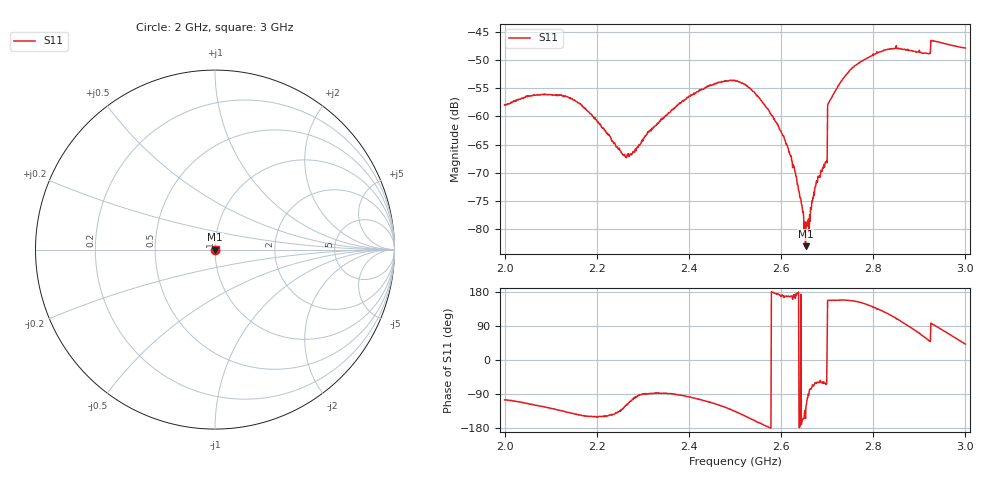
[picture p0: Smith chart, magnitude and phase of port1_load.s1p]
!Created with skrf (http://scikit-rf.org).
# GHz S RI R 50.0
!freq ReS11 ImS11
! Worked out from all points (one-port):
!   1001 points, 2 GHz to 3 GHz, reference 50 ohm
!   lowest |S11| = -83.0 dB at 2.653 GHz (marker M1), VSWR 1.00, Z = 50 - j0.00306 ohm
!   |S11| at or under -10 dB: start of sweep to end of sweep
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2  -0.000335 -0.00123
2.051  -0.000643 -0.00137
2.125  -0.00106 -0.00109
2.179  -0.000961 -0.000592
2.25  -0.00036 -0.000348
2.26  -0.000259 -0.00038
2.277  -0.000116 -0.000453
2.315  2.24e-05 -0.000737
2.375  -3.62e-05 -0.00125
2.441  -0.00063 -0.00173
2.5  -0.00148 -0.00147
2.531  -0.0016 -0.000822
2.569  -0.00119 -0.000108
2.604  -0.000661 0.000126
2.625  -0.000331 0.000119
2.633  -0.00029 5e-05
2.653  -6.38e-05 -3.07e-05
2.658  -1.88e-05 -0.000116
2.676  0.000121 -0.000227
2.695  0.000183 -0.000329
2.706  -0.00128 0.000522
2.75  -0.00237 0.00103
2.813  -0.00254 0.00271
2.845  -0.00158 0.00368
2.875  -6.37e-05 0.00394
2.919  0.00217 0.00289
2.93  -0.000315 0.00466
3  0.00301 0.00271
